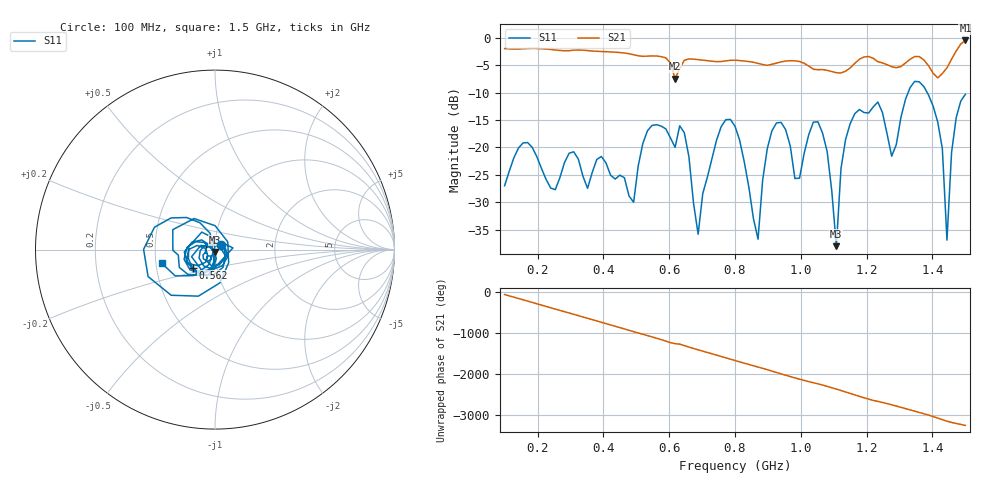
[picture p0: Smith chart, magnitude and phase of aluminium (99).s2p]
! NanoVNA-App
! Date: 2025-09-25 14:56:02
! Start: 100MHz Stop: 1,5GHz Points: 101
! S-Parameter data: F S11 S21 S12 S22
# Hz S RI R 50
!  Frequency  S11_Real  S11_Imag  S21_Real  S21_Imag  S12_Real  S12_Imag  S22_Real  S22_Imag
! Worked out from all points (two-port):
!   101 points, 100 MHz to 1.5 GHz, reference 50 ohm
!   highest |S21| = -0.44 dB at 1.5 GHz (marker M1); lowest = -7.4 dB at 618 MHz (marker M2)
!   |S21| within 3 dB of the highest: start of sweep to 578.7 MHz; 1.462 GHz to end of sweep (the widest 2 of 4)
!   lowest |S11| = -38.0 dB at 1.108 GHz (marker M3), VSWR 1.03, Z = 49.9 - j1.24 ohm
!   |S11| at or under -10 dB: start of sweep to 1.326 GHz; 1.384 GHz to end of sweep
!   S12 and S22 are empty: the file has one direction only
!   S11 on the Smith chart (normalised r, x): 100 MHz: 1.07, +0.06; 562 MHz: 0.76, -0.16; 1.5 GHz: 0.54, -0.09
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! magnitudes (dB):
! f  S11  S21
! 100 MHz  -27.0  -1.9
! 338 MHz  -25.3  -2.2
! 492 MHz  -30.0  -3.0
! 562 MHz  -15.8  -3.3
! 576 MHz  -16.1  -3.4
! 618 MHz  -20.0  -7.4
! 646 MHz  -17.3  -4.1
! 688 MHz  -35.9  -3.9
! 800 MHz  -16.1  -4.0
! 870 MHz  -36.8  -4.6
! 912 MHz  -17.0  -4.8
! 996 MHz  -25.6  -4.3
! 1.038 GHz  -15.4  -5.7
! 1.08 GHz  -20.8  -5.9
! 1.108 GHz  -38.0  -6.3
! 1.164 GHz  -13.8  -4.6
! 1.276 GHz  -21.6  -5.2
! 1.374 GHz  -8.9  -4.0
! 1.43 GHz  -20.2  -6.5
! 1.444 GHz  -36.9  -5.4
! 1.458 GHz  -20.9  -3.9
! 1.5 GHz  -10.3  -0.4
